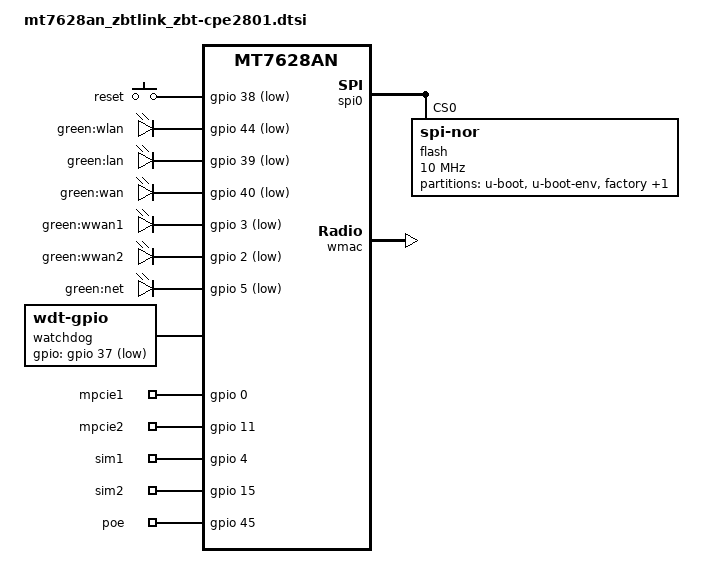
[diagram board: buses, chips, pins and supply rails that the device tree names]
#include <dt-bindings/input/input.h>
#include <dt-bindings/gpio/gpio.h>

#include "mt7628an.dtsi"

/ {
	compatible = "zbtlink,zbt-cpe2801", "mediatek,mt7628an-soc";

	aliases {
		led-boot = &led_wlan;
		led-failsafe = &led_wlan;
		led-running = &led_wlan;
		led-upgrade = &led_wlan;
	};

	chosen {
		bootargs = "console=ttyS0,57600";
	};

	keys {
		compatible = "gpio-keys-polled";
		poll-interval = <20>;

		reset {
			label = "reset";
			gpios = <&gpio 38 GPIO_ACTIVE_LOW>;
			linux,code = <KEY_RESTART>;
		};
	};

	leds {
		compatible = "gpio-leds";

		led_wlan: wlan {
			label = "green:wlan";
			gpios = <&gpio 44 GPIO_ACTIVE_LOW>;
		};

		lan {
			label = "green:lan";
			gpios = <&gpio 39 GPIO_ACTIVE_LOW>;
		};

		wan {
			label = "green:wan";
			gpios = <&gpio 40 GPIO_ACTIVE_LOW>;
		};

		wwan1 {
			label = "green:wwan1";
			gpios = <&gpio 3 GPIO_ACTIVE_LOW>;
		};

		wwan2 {
			label = "green:wwan2";
			gpios = <&gpio 2 GPIO_ACTIVE_LOW>;
		};

		net {
			label = "green:net";
			gpios = <&gpio 5 GPIO_ACTIVE_LOW>;
		};

	};

	watchdog {
		compatible = "linux,wdt-gpio";
		gpios = <&gpio 37 GPIO_ACTIVE_LOW>;
		hw_algo = "toggle";
		/* hw_margin_ms is actually ~120s but driver limits it to 60s */
		hw_margin_ms = <60000>;
		always-running;
	};

	gpio_export {
		compatible = "gpio-export";
		#size-cells = <0>;
		mpcie1 {
			gpio-export,name = "mpcie1";
			gpio-export,output = <1>;
			gpios = <&gpio 0 GPIO_ACTIVE_HIGH>;
		};

		mpcie2 {
			gpio-export,name = "mpcie2";
			gpio-export,output = <1>;
			gpios = <&gpio 11 GPIO_ACTIVE_HIGH>;
		};

		sim1 {
			gpio-export,name = "sim1";
			gpio-export,output = <1>;
			gpios = <&gpio 4 GPIO_ACTIVE_HIGH>;
		};

		sim2 {
			gpio-export,name = "sim2";
			gpio-export,output = <1>;
			gpios = <&gpio 15 GPIO_ACTIVE_HIGH>;
		};

		poe {
			gpio-export,name = "poe";
			gpio-export,output = <1>;
			gpios = <&gpio 45 GPIO_ACTIVE_HIGH>;
		};
	};

};


&spi0 {
	status = "okay";

	flash@0 {
		compatible = "jedec,spi-nor";
		reg = <0>;
		spi-max-frequency = <10000000>;

		partitions {
			compatible = "fixed-partitions";
			#address-cells = <1>;
			#size-cells = <1>;

			partition@0 {
				label = "u-boot";
				reg = <0x0 0x30000>;
				read-only;
			};

			partition@30000 {
				label = "u-boot-env";
				reg = <0x30000 0x10000>;
				read-only;
			};

			partition@40000 {
				label = "factory";
				reg = <0x40000 0x10000>;
				read-only;

				nvmem-layout {
					compatible = "fixed-layout";
					#address-cells = <1>;
					#size-cells = <1>;

					eeprom_factory_0: eeprom@0 {
						reg = <0x0 0x400>;
					};

					macaddr_factory_28: macaddr@28 {
						reg = <0x28 0x6>;
					};
				};
			};

			firmware: partition@50000 {
				compatible = "denx,uimage";
				label = "firmware";
			};
		};
	};
};

&state_default{
	gpio {
		groups = "gpio", "refclk", "i2s", "i2c", "uart1", "wled_an", "p0led_an", "p1led_an", "p2led_an", "p3led_an", "p4led_an", "wdt";
		function = "gpio";
	};
};


&wmac {
	status = "okay";

	nvmem-cells = <&eeprom_factory_0>;
	nvmem-cell-names = "eeprom";
};

&ethernet {
	nvmem-cells = <&macaddr_factory_28>;
	nvmem-cell-names = "mac-address";
};

